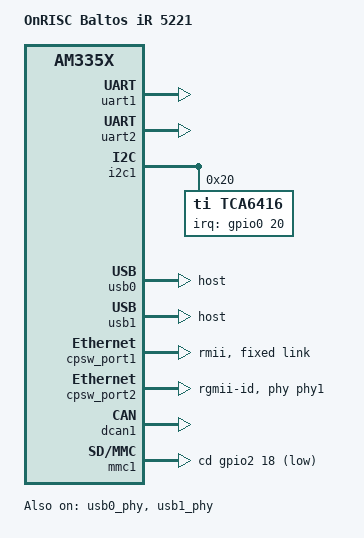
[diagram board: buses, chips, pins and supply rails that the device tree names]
// SPDX-License-Identifier: GPL-2.0-only
/*
 * Copyright (C) 2012 Texas Instruments Incorporated - https://www.ti.com/
 */

/*
 * VScom OnRISC
 * http://www.vscom.de
 */

/dts-v1/;

#include "am335x-baltos.dtsi"
#include "am335x-baltos-leds.dtsi"

/ {
	model = "OnRISC Baltos iR 5221";
};

&am33xx_pinmux {
	tca6416_pins: pinmux_tca6416_pins {
		pinctrl-single,pins = <
			AM33XX_PADCONF(AM335X_PIN_XDMA_EVENT_INTR1, PIN_INPUT_PULLUP, MUX_MODE7)      /* xdma_event_intr1.gpio0[20] tca6416 stuff */
		>;
	};


	dcan1_pins: pinmux_dcan1_pins {
		pinctrl-single,pins = <
			AM33XX_PADCONF(AM335X_PIN_UART0_CTSN, PIN_OUTPUT, MUX_MODE2)      /* uart0_ctsn.dcan1_tx_mux0 */
			AM33XX_PADCONF(AM335X_PIN_UART0_RTSN, PIN_INPUT, MUX_MODE2)      /* uart0_rtsn.dcan1_rx_mux0 */
		>;
	};

	uart1_pins: pinmux_uart1_pins {
		pinctrl-single,pins = <
			AM33XX_PADCONF(AM335X_PIN_UART1_RXD, PIN_INPUT, MUX_MODE0)
			AM33XX_PADCONF(AM335X_PIN_UART1_TXD, PIN_INPUT, MUX_MODE0)
			AM33XX_PADCONF(AM335X_PIN_UART1_CTSN, PIN_INPUT_PULLDOWN, MUX_MODE0)
			AM33XX_PADCONF(AM335X_PIN_UART1_RTSN, PIN_OUTPUT_PULLDOWN, MUX_MODE0)
			AM33XX_PADCONF(AM335X_PIN_LCD_VSYNC, PIN_OUTPUT_PULLDOWN, MUX_MODE7)      /* lcd_vsync.gpio2[22] DTR */
			AM33XX_PADCONF(AM335X_PIN_LCD_HSYNC, PIN_INPUT_PULLDOWN, MUX_MODE7)      /* lcd_hsync.gpio2[23] DSR */
			AM33XX_PADCONF(AM335X_PIN_LCD_PCLK, PIN_INPUT_PULLDOWN, MUX_MODE7)      /* lcd_pclk.gpio2[24] DCD */
			AM33XX_PADCONF(AM335X_PIN_LCD_AC_BIAS_EN, PIN_INPUT_PULLDOWN, MUX_MODE7)      /* lcd_ac_bias_en.gpio2[25] RI */
		>;
	};

	uart2_pins: pinmux_uart2_pins {
		pinctrl-single,pins = <
			AM33XX_PADCONF(AM335X_PIN_SPI0_SCLK, PIN_INPUT, MUX_MODE1)      /* spi0_sclk.uart2_rxd_mux3 */
			AM33XX_PADCONF(AM335X_PIN_SPI0_D0, PIN_OUTPUT, MUX_MODE1)      /* spi0_d0.uart2_txd_mux3 */
			AM33XX_PADCONF(AM335X_PIN_I2C0_SDA, PIN_INPUT_PULLDOWN, MUX_MODE2)      /* i2c0_sda.uart2_ctsn_mux0 */
			AM33XX_PADCONF(AM335X_PIN_I2C0_SCL, PIN_OUTPUT_PULLDOWN, MUX_MODE2)      /* i2c0_scl.uart2_rtsn_mux0 */
			AM33XX_PADCONF(AM335X_PIN_GPMC_AD12, PIN_OUTPUT_PULLDOWN, MUX_MODE7)      /* gpmc_ad12.gpio1[12] DTR */
			AM33XX_PADCONF(AM335X_PIN_GPMC_AD13, PIN_INPUT_PULLDOWN, MUX_MODE7)      /* gpmc_ad13.gpio1[13] DSR */
			AM33XX_PADCONF(AM335X_PIN_GPMC_AD14, PIN_INPUT_PULLDOWN, MUX_MODE7)      /* gpmc_ad14.gpio1[14] DCD */
			AM33XX_PADCONF(AM335X_PIN_GPMC_AD15, PIN_INPUT_PULLDOWN, MUX_MODE7)     /* gpmc_ad15.gpio1[15] RI */

			AM33XX_PADCONF(AM335X_PIN_MCASP0_ACLKR, PIN_INPUT_PULLUP, MUX_MODE7)      /* mcasp0_aclkr.gpio3[18], INPUT_PULLDOWN | MODE7 */
		>;
	};

	mmc1_pins: pinmux_mmc1_pins {
		pinctrl-single,pins = <
			AM33XX_PADCONF(AM335X_PIN_MII1_RXD3, PIN_INPUT, MUX_MODE7)     /* MMC1 CD */
		>;
	};
};

&uart1 {
	pinctrl-names = "default";
	pinctrl-0 = <&uart1_pins>;
	dtr-gpios = <&gpio2 22 GPIO_ACTIVE_LOW>;
	dsr-gpios = <&gpio2 23 GPIO_ACTIVE_LOW>;
	dcd-gpios = <&gpio2 24 GPIO_ACTIVE_LOW>;
	rng-gpios = <&gpio2 25 GPIO_ACTIVE_LOW>;

	status = "okay";
};

&uart2 {
	pinctrl-names = "default";
	pinctrl-0 = <&uart2_pins>;
	dtr-gpios = <&gpio1 12 GPIO_ACTIVE_LOW>;
	dsr-gpios = <&gpio1 13 GPIO_ACTIVE_LOW>;
	dcd-gpios = <&gpio1 14 GPIO_ACTIVE_LOW>;
	rng-gpios = <&gpio1 15 GPIO_ACTIVE_LOW>;

	status = "okay";
};

&i2c1 {
	tca6416: gpio@20 {
		compatible = "ti,tca6416";
		reg = <0x20>;
		gpio-controller;
		#gpio-cells = <2>;
		interrupt-parent = <&gpio0>;
		interrupts = <20 IRQ_TYPE_EDGE_RISING>;
		pinctrl-names = "default";
		pinctrl-0 = <&tca6416_pins>;
	};
};

&usb0_phy {
	status = "okay";
};

&usb1_phy {
	status = "okay";
};

&usb0 {
	status = "okay";
	dr_mode = "host";
};

&usb1 {
	status = "okay";
	dr_mode = "host";
};

&cpsw_port1 {
	phy-mode = "rmii";
	ti,dual-emac-pvid = <1>;
	fixed-link {
		speed = <100>;
		full-duplex;
	};
};

&cpsw_port2 {
	phy-mode = "rgmii-id";
	ti,dual-emac-pvid = <2>;
	phy-handle = <&phy1>;
};

&dcan1 {
	pinctrl-names = "default";
	pinctrl-0 = <&dcan1_pins>;

	status = "okay";
};

&mmc1 {
	pinctrl-names = "default";
	pinctrl-0 = <&mmc1_pins>;
	cd-gpios = <&gpio2 18 GPIO_ACTIVE_LOW>;
};
